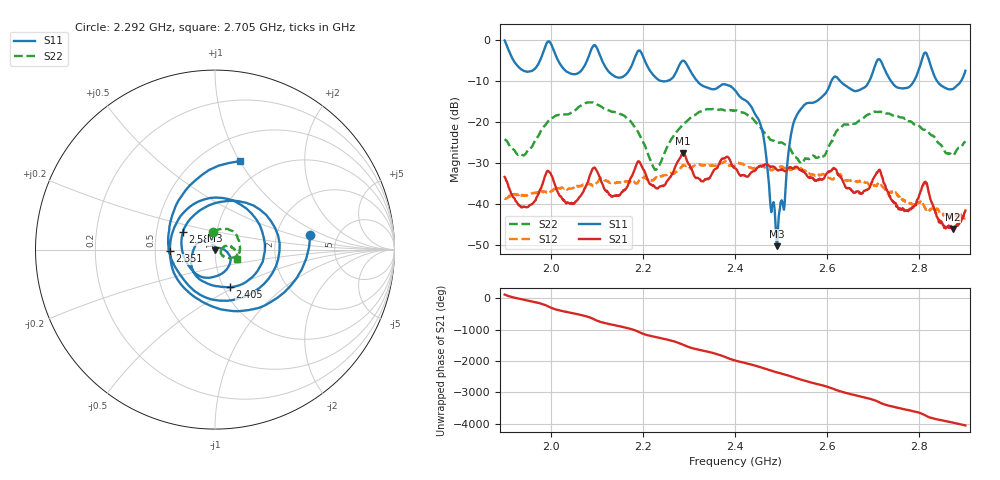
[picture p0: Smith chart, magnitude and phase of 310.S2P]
! C:\Users\rflab\Downloads\Lab5_KD_ZW\310.S2P
! Touchstone 1.1 file saved by VNA.EXE V1.65 (www.ke5fx.com/gpib/readme.htm)
! 11/12/2024 12:31:46 AM
!  Source: HEWLETT PACKARD,8753D,0,6.14
!  Min freq: 1.900000E+009 Hz
!  Max freq: 2.900000E+009 Hz
!  Points: 801
!  Params: S11 S21 S12 S22
# GHZ S RI R 50
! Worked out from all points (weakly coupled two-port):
!   801 points, 1.9 GHz to 2.9 GHz, reference 50 ohm
!   highest |S21| = -27.62 dB at 2.288 GHz (marker M1); lowest = -46.2 dB at 2.873 GHz (marker M2)
!   lowest |S11| = -50.4 dB at 2.491 GHz (marker M3), VSWR 1.01, Z = 49.8 - j0.25 ohm
!   |S11| at or under -10 dB: 2.318 GHz to 2.609 GHz (290.8 MHz wide, 11.8 % of centre); 2.628 GHz to 2.691 GHz (62.86 MHz wide, 2.36 % of centre); 2.839 GHz to 2.89 GHz (51.59 MHz wide, 1.8 % of centre) (the widest 3 of 5)
!   |S22| runs from -31.7 to -15.2 dB; largest |S21 - S12| = 0.015
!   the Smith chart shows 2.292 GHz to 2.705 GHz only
!   S11 on the Smith chart (normalised r, x): 2.292 GHz: 3.13, +0.74; 2.351 GHz: 0.60, -0.01; 2.405 GHz: 1.07, -0.47; 2.589 GHz: 0.68, +0.14; 2.705 GHz: 0.75, +1.00
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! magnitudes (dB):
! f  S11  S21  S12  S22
! 1.9 GHz  0.0  -33.4  -38.7  -24.2
! 1.938 GHz  -7.2  -40.9  -37.8  -28.0
! 1.995 GHz  -0.2  -32.0  -37.3  -19.7
! 2.067 GHz  -7.2  -37.6  -35.5  -15.9
! 2.191 GHz  -2.5  -29.7  -34.5  -22.8
! 2.234 GHz  -9.6  -36.1  -33.5  -30.9
! 2.288 GHz  -5.0  -27.6  -30.6  -20.6
! 2.292 GHz  -5.4  -28.4  -30.7  -20.0
! 2.351 GHz  -12.0  -32.3  -30.7  -16.8
! 2.4 GHz  -12.2  -31.3  -30.5  -17.2
! 2.405 GHz  -12.9  -31.9  -30.0  -17.2
! 2.456 GHz  -20.9  -30.8  -30.8  -21.4
! 2.491 GHz  -50.4  -31.7  -31.4  -25.0
! 2.527 GHz  -20.1  -31.2  -31.4  -28.2
! 2.567 GHz  -15.3  -33.6  -32.7  -28.3
! 2.589 GHz  -13.8  -34.1  -32.9  -28.2
! 2.705 GHz  -5.8  -33.0  -35.6  -17.5
! 2.734 GHz  -9.1  -37.7  -37.3  -17.9
! 2.777 GHz  -11.4  -41.5  -39.8  -19.8
! 2.814 GHz  -3.0  -34.6  -41.5  -21.9
! 2.873 GHz  -11.9  -46.2  -43.3  -28.2
! 2.9 GHz  -7.4  -41.7  -43.6  -24.8
